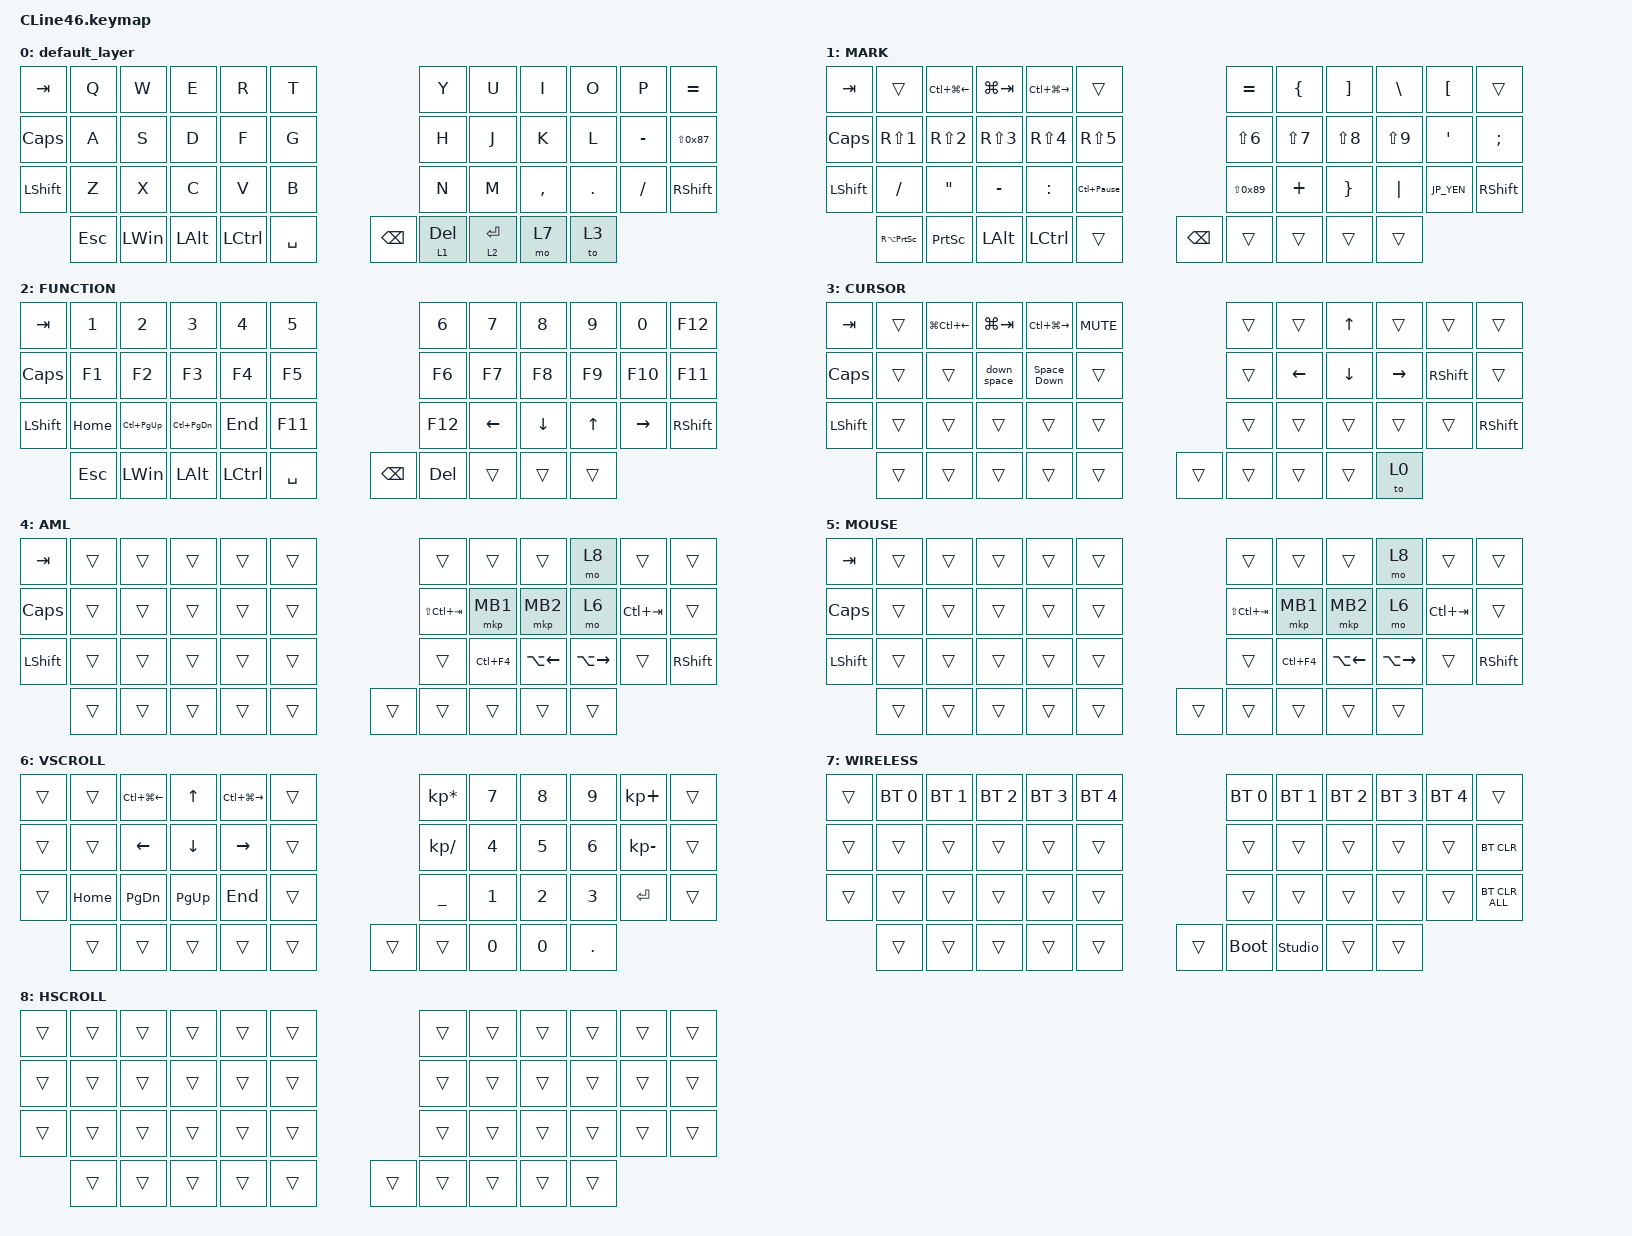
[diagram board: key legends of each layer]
#include <input/processors.dtsi>
#include <dt-bindings/zmk/input_transform.h>
#include <zephyr/dt-bindings/input/input-event-codes.h>
#include <behaviors.dtsi>
#include <dt-bindings/zmk/bt.h>
#include <dt-bindings/zmk/keys.h>
#include <dt-bindings/zmk/pointing.h>

// 日本語キー定義
#define JP_YEN          0x89              // ¥
#define JP_PIPE         LS(0x89)          // |
#define JP_UNDERSCORE   LS(0x87)          // _

&mt {
    flavor = "balanced";
    quick-tap-ms = <0>;
};

/ {
    combos {
        compatible = "zmk,combos";

        Colon {
            bindings = <&kp SINGLE_QUOTE>;
            key-positions = <7 8>;  // U + I
            layers = <0>;
        };

        Semicolon {
            bindings = <&kp SEMICOLON>;
            key-positions = <8 9>;  // I + O
            layers = <0>;
        };

        Tab {
            bindings = <&kp TAB>;
            key-positions = <14 15>;  // S + D
            layers = <0>;
        };

        HankakuZenkaku {
            bindings = <&kp CAPSLOCK>;
            key-positions = <15 16>;  // D + F
            layers = <0>;
        };

        pipe {
            bindings = <&kp JP_PIPE>;
            key-positions = <19 20>;  // J + K
            layers = <0>;
        };

        Equal {
            bindings = <&kp LS(MINUS)>;
            key-positions = <20 21>;  // K + L
            layers = <0>;
        };

        Underscore {
            bindings = <&kp JP_UNDERSCORE>;
            key-positions = <21 22>;  // L + -
            layers = <0>;
        };

        Namisen {
            bindings = <&kp PLUS>;
            key-positions = <32 33>;  // , + .
            layers = <0>;
        };
    };

    macros {
        Space_Down: Space_Down {
            compatible = "zmk,behavior-macro";
            #binding-cells = <0>;
            bindings = <&kp SPACE &kp DOWN_ARROW>;
            label = "SPACE_DOWN";
        };

        down_space: down_space {
            compatible = "zmk,behavior-macro";
            #binding-cells = <0>;
            bindings = <&kp DOWN_ARROW &kp SPACE>;
            label = "DOWN_SPACE";
        };
    };

    keymap {
        compatible = "zmk,keymap";

        default_layer {
            bindings = <
&kp TAB         &kp Q    &kp W         &kp E         &kp R             &kp T                                      &kp Y         &kp U        &kp I      &kp O    &kp P      &kp EQUAL
&kp CAPSLOCK    &kp A    &kp S         &kp D         &kp F             &kp G                                      &kp H         &kp J        &kp K      &kp L    &kp MINUS  &kp JP_UNDERSCORE
&kp LEFT_SHIFT  &kp Z    &kp X         &kp C         &kp V             &kp B                                      &kp N         &kp M        &kp COMMA  &kp DOT  &kp SLASH  &kp RIGHT_SHIFT
                &kp ESC  &kp LEFT_WIN  &kp LEFT_ALT  &kp LEFT_CONTROL  &kp SPACE  &kp BACKSPACE     &lt 1 DELETE  &lt 2 ENTER                &mo 7      &to 3
            >;
        };

        MARK {
            bindings = <
&kp TAB         &trans               &kp LC(LG(LEFT_ARROW))  &kp LG(TAB)   &kp LC(LG(RIGHT_ARROW))  &trans                                 &kp EQUAL    &kp LEFT_BRACE  &kp RIGHT_BRACKET  &kp BACKSLASH  &kp LEFT_BRACKET  &trans
&kp CAPSLOCK    &kp RS(N1)           &kp RS(N2)              &kp RS(N3)    &kp RS(N4)               &kp RS(N5)                             &kp LS(N6)   &kp LS(N7)      &kp LS(N8)         &kp LS(N9)     &kp SINGLE_QUOTE  &kp SEMICOLON
&kp LEFT_SHIFT  &kp SLASH            &kp DOUBLE_QUOTES       &kp MINUS     &kp COLON                &kp LC(PAUSE_BREAK)                    &kp JP_PIPE  &kp PLUS        &kp RIGHT_BRACE    &kp PIPE       &kp JP_YEN        &kp RIGHT_SHIFT
                &kp RA(PRINTSCREEN)  &kp PRINTSCREEN         &kp LEFT_ALT  &kp LEFT_CONTROL         &trans      &kp BACKSPACE     &trans   &trans                       &trans             &trans
            >;
        };

        FUNCTION {
            bindings = <
&kp TAB         &kp NUMBER_1  &kp NUMBER_2     &kp NUMBER_3       &kp NUMBER_4      &kp NUMBER_5                             &kp NUMBER_6  &kp NUMBER_7    &kp NUMBER_8    &kp NUMBER_9  &kp NUMBER_0     &kp F12
&kp CAPSLOCK    &kp F1        &kp F2           &kp F3             &kp F4            &kp F5                                   &kp F6        &kp F7          &kp F8          &kp F9        &kp F10          &kp F11
&kp LEFT_SHIFT  &kp HOME      &kp LC(PAGE_UP)  &kp LC(PAGE_DOWN)  &kp END           &kp F11                                  &kp F12       &kp LEFT_ARROW  &kp DOWN_ARROW  &kp UP_ARROW  &kp RIGHT_ARROW  &kp RIGHT_SHIFT
                &kp ESC       &kp LEFT_WIN     &kp LEFT_ALT       &kp LEFT_CONTROL  &kp SPACE  &kp BACKSPACE     &kp DELETE  &trans                        &trans          &trans
            >;
        };

        CURSOR {
            bindings = <
&kp TAB         &trans  &kp LG(LC(LEFT_ARROW))  &kp LG(TAB)  &kp LC(LG(RIGHT_ARROW))  &kp K_MUTE                    &trans  &trans          &kp UP_ARROW    &trans           &trans           &trans
&kp CAPSLOCK    &trans  &trans                  &down_space  &Space_Down              &trans                        &trans  &kp LEFT_ARROW  &kp DOWN_ARROW  &kp RIGHT_ARROW  &kp RIGHT_SHIFT  &trans
&kp LEFT_SHIFT  &trans  &trans                  &trans       &trans                   &trans                        &trans  &trans          &trans          &trans           &trans           &kp RIGHT_SHIFT
                &trans  &trans                  &trans       &trans                   &trans      &trans    &trans  &trans                  &trans          &to 0
            >;
        };

        AML {
            bindings = <
&kp TAB         &trans  &trans  &trans  &trans  &trans                      &trans           &trans      &trans              &mo 8                &trans       &trans
&kp CAPSLOCK    &trans  &trans  &trans  &trans  &trans                      &kp LS(LC(TAB))  &mkp MB1    &mkp MB2            &mo 6                &kp LC(TAB)  &trans
&kp LEFT_SHIFT  &trans  &trans  &trans  &trans  &trans                      &trans           &kp LC(F4)  &kp LA(LEFT_ARROW)  &kp LA(RIGHT_ARROW)  &trans       &kp RIGHT_SHIFT
                &trans  &trans  &trans  &trans  &trans  &trans     &trans   &trans                       &trans              &trans
            >;
        };

        MOUSE {
            bindings = <
&kp TAB         &trans  &trans  &trans  &trans  &trans                      &trans           &trans      &trans              &mo 8                &trans       &trans
&kp CAPSLOCK    &trans  &trans  &trans  &trans  &trans                      &kp LS(LC(TAB))  &mkp MB1    &mkp MB2            &mo 6                &kp LC(TAB)  &trans
&kp LEFT_SHIFT  &trans  &trans  &trans  &trans  &trans                      &trans           &kp LC(F4)  &kp LA(LEFT_ARROW)  &kp LA(RIGHT_ARROW)  &trans       &kp RIGHT_SHIFT
                &trans  &trans  &trans  &trans  &trans  &trans     &trans   &trans                       &trans              &trans
            >;
        };

        VSCROLL {
            bindings = <
&trans  &trans    &kp LC(LG(LEFT_ARROW))  &kp UP_ARROW  &kp LC(LG(RIGHT_ARROW))  &trans                     &kp KP_MULTIPLY  &kp NUMBER_7  &kp NUMBER_8  &kp NUMBER_9  &kp KP_PLUS   &trans
&trans  &trans    &kp LEFT_ARROW          &kp DOWN      &kp RIGHT_ARROW          &trans                     &kp KP_SLASH     &kp NUMBER_4  &kp NUMBER_5  &kp NUMBER_6  &kp KP_MINUS  &trans
&trans  &kp HOME  &kp PAGE_DOWN           &kp PAGE_UP   &kp END                  &trans                     &kp UNDER        &kp NUMBER_1  &kp NUMBER_2  &kp NUMBER_3  &kp ENTER     &trans
        &trans    &trans                  &trans        &trans                   &trans  &trans     &trans  &kp NUMBER_0     &kp NUMBER_0  &kp DOT
            >;
        };

        WIRELESS {
            bindings = <
&trans  &bt BT_SEL 0  &bt BT_SEL 1  &bt BT_SEL 2  &bt BT_SEL 3  &bt BT_SEL 4                          &bt BT_SEL 0    &bt BT_SEL 1  &bt BT_SEL 2  &bt BT_SEL 3  &bt BT_SEL 4  &trans
&trans  &trans        &trans        &trans        &trans        &trans                                &trans          &trans        &trans        &trans        &trans        &bt BT_CLR
&trans  &trans        &trans        &trans        &trans        &trans                                &trans          &trans        &trans        &trans        &trans        &bt BT_CLR_ALL
        &trans        &trans        &trans        &trans        &trans  &trans     &bootloader        &studio_unlock                &trans        &trans
            >;
        };

        HSCROLL {
            bindings = <
&trans  &trans  &trans  &trans  &trans  &trans                  &trans  &trans  &trans  &trans  &trans  &trans
&trans  &trans  &trans  &trans  &trans  &trans                  &trans  &trans  &trans  &trans  &trans  &trans
&trans  &trans  &trans  &trans  &trans  &trans                  &trans  &trans  &trans  &trans  &trans  &trans
        &trans  &trans  &trans  &trans  &trans  &trans  &trans  &trans          &trans  &trans
            >;
        };
    };
};
